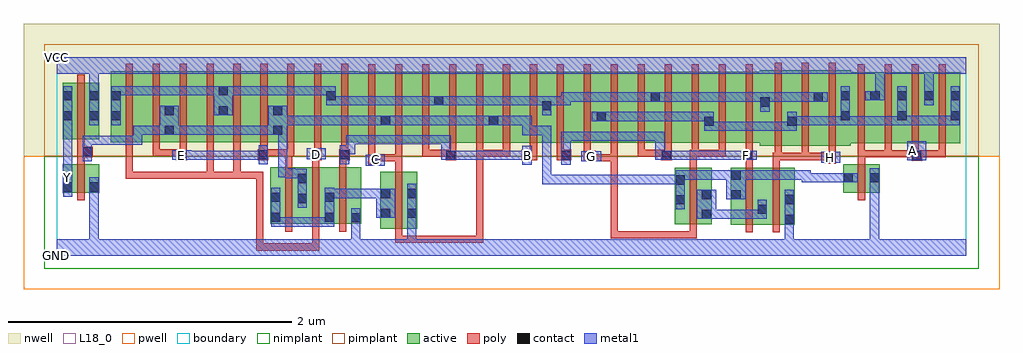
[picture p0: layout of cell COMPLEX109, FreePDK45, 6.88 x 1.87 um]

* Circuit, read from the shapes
.subckt COMPLEX109 A B C D E F G GND H VCC Y
M1 GND n1 Y VSUBS nfet w=0.2u l=0.05u
M2 n1 E n2 VSUBS nfet w=0.4u l=0.05u
M3 n2 D n1 VSUBS nfet w=0.4u l=0.05u
M4 GND B n2 VSUBS nfet w=0.4u l=0.05u
M5 GND C n2 VSUBS nfet w=0.4u l=0.05u
M6 n3 G n1 VSUBS nfet w=0.4u l=0.05u
M7 n3 F n1 VSUBS nfet w=0.4u l=0.05u
M8 GND H n3 VSUBS nfet w=0.4u l=0.05u
M9 GND A n1 VSUBS nfet w=0.2u l=0.05u
M10 VCC n1 Y n4 pfet w=0.4u l=0.05u
M11 n5 D n6 n4 pfet w=0.5u l=0.05u
M12 n1 E n5 n4 pfet w=0.5u l=0.05u
M13 n7 E n1 n4 pfet w=0.5u l=0.05u
M14 n6 D n7 n4 pfet w=0.5u l=0.05u
M15 n8 D n6 n4 pfet w=0.5u l=0.05u
M16 n1 E n8 n4 pfet w=0.5u l=0.05u
M17 n9 E n1 n4 pfet w=0.5u l=0.05u
M18 n6 D n9 n4 pfet w=0.5u l=0.05u
M19 n10 B n6 n4 pfet w=0.5u l=0.05u
M20 n1 C n10 n4 pfet w=0.5u l=0.05u
M21 n11 C n1 n4 pfet w=0.5u l=0.05u
M22 n6 B n11 n4 pfet w=0.5u l=0.05u
M23 n12 B n6 n4 pfet w=0.5u l=0.05u
M24 n1 C n12 n4 pfet w=0.5u l=0.05u
M25 n13 C n1 n4 pfet w=0.5u l=0.05u
M26 n6 B n13 n4 pfet w=0.5u l=0.05u
M27 n14 F n6 n4 pfet w=0.5u l=0.05u
M28 n15 G n14 n4 pfet w=0.5u l=0.05u
M29 n16 G n15 n4 pfet w=0.5u l=0.05u
M30 n6 F n16 n4 pfet w=0.5u l=0.05u
M31 n17 F n6 n4 pfet w=0.5u l=0.05u
M32 n15 G n17 n4 pfet w=0.5u l=0.05u
M33 n18 G n15 n4 pfet w=0.5u l=0.05u
M34 n6 F n18 n4 pfet w=0.5u l=0.05u
M35 n15 H n6 n4 pfet w=0.532u l=0.05u m=3
M36 VCC A n15 n4 pfet w=0.5u l=0.05u m=4
.ends

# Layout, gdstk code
import gdstk
lib = gdstk.Library(unit=1e-6, precision=1e-09)
def R(c, l, rs):  # rectangles x0, y0, x1, y1
    for r in rs: c.add(gdstk.rectangle(r[:2], r[2:], *l))
def A(c, l, x, y, w, h, nx, ny, dx, dy):  # array of equal rectangles
    R(c, l, [(x+i*dx, y+j*dy, x+i*dx+w, y+j*dy+h) for i in range(nx) for j in range(ny)])
active = (1, 0)
pwell = (2, 0)
nwell = (3, 0)
nimplant = (4, 0)
pimplant = (5, 0)
poly = (9, 0)
contact = (10, 0)
metal1 = (11, 0)
L18_0 = (18, 0)
boundary = (235, 0)

complex109 = lib.new_cell('COMPLEX109')
A(complex109, active, 2.28, 0.797, 0.075, 0.273, 4, 1, 0.76, 0)
A(complex109, active, 3.645, 0.797, 0.23, 0.5, 3, 1, 0.38, 0)
A(complex109, active, 3.8, 0.797, 0.225, 0.5, 3, 1, 0.38, 0)
R(complex109, active, [(2.28,0.192,2.54,0.592), (2.28,0.2,2.355,0.592), (4.75,0.22,5.01,0.62), (4.935,0.22,5.2,0.62), (5.125,0.22,5.2,0.62), (4.357,0.222,4.617,0.622), (1.505,0.225,1.58,0.625), (1.505,0.225,1.767,0.625), (1.692,0.225,1.96,0.625), (1.885,0.225,2.145,0.625), (2.07,0.225,2.145,0.492), (1.885,0.232,1.96,0.492), (4.935,0.232,5.01,0.492), (1.692,0.245,1.767,0.625), (2.465,0.245,2.54,0.592), (4.357,0.245,4.432,0.622), (4.542,0.245,4.617,0.622), (4.75,0.245,4.825,0.62), (0.04,0.445,0.115,0.645), (0.04,0.445,0.3,0.645), (0.225,0.445,0.3,0.645), (5.542,0.445,5.617,0.645), (5.542,0.445,5.802,0.645), (5.727,0.445,5.802,0.645), (4.955,0.775,5.22,1.307), (5.145,0.775,5.405,1.307), (5.145,0.775,5.22,1.07), (5.33,0.775,5.595,1.307), (5.33,0.775,5.405,1.2), (5.52,0.795,5.595,1.2), (5.52,0.795,5.805,1.295), (5.73,0.795,5.805,1.295), (5.73,0.795,5.995,1.295), (5.92,0.795,5.995,1.2), (5.92,0.795,6.185,1.295), (6.11,0.795,6.37,1.295), (6.11,0.795,6.185,1.295), (6.295,0.795,6.37,1.2), (2.125,0.797,2.355,1.297), (2.28,0.797,2.505,1.297), (2.505,0.797,2.73,1.297), (2.655,0.797,2.885,1.297), (2.655,0.797,2.73,1.2), (2.885,0.797,3.115,1.297), (3.04,0.797,3.265,1.297), (3.265,0.797,3.49,1.297), (3.415,0.797,3.645,1.297), (3.415,0.797,3.49,1.2), (4.18,0.797,4.255,1.2), (4.785,0.797,5.03,1.297), (0.38,0.8,0.605,1.3), (0.38,0.8,0.485,1.2), (0.605,0.8,0.83,1.3), (0.755,0.8,0.985,1.3), (0.755,0.8,0.83,1.07), (0.985,0.8,1.21,1.3), (1.135,0.8,1.21,1.2), (1.135,0.8,1.365,1.3), (1.365,0.8,1.595,1.3), (1.52,0.8,1.745,1.3), (1.52,0.8,1.595,1.07), (1.745,0.8,1.97,1.3), (1.895,0.8,2.125,1.3), (1.895,0.807,1.97,1.2), (4.955,0.807,5.03,1.2), (0.04,0.82,0.3,1.22), (0.04,0.82,0.115,1.165), (0.225,0.82,0.3,1.22)])
R(complex109, pwell, [(-0.235,-0.235,6.645,0.7)])
R(complex109, nwell, [(-0.235,0.7,6.645,1.635)])
R(complex109, nimplant, [(-0.09,-0.09,6.5,0.7)])
R(complex109, pimplant, [(-0.09,0.7,6.5,1.49)])
A(complex109, poly, 1.61, 0.17, 0.05, 0.51, 3, 1, 0.19, 0)
A(complex109, poly, 5.06, 0.675, 0.05, 0.095, 3, 1, 0.19, 0)
A(complex109, poly, 5.645, 0.695, 0.05, 0.095, 4, 1, 0.19, 0)
A(complex109, poly, 2.575, 0.697, 0.05, 0.095, 6, 1, 0.19, 0)
A(complex109, poly, 4.095, 0.697, 0.05, 0.095, 5, 1, 0.19, 0)
A(complex109, poly, 1.435, 0.7, 0.05, 0.095, 4, 1, 0.19, 0)
A(complex109, poly, 5.06, 0.72, 0.05, 0.642, 3, 1, 0.19, 0)
A(complex109, poly, 5.645, 0.74, 0.05, 0.61, 4, 1, 0.19, 0)
A(complex109, poly, 2.195, 0.742, 0.05, 0.61, 15, 1, 0.19, 0)
A(complex109, poly, 0.485, 0.745, 0.05, 0.61, 9, 1, 0.19, 0)
R(complex109, poly, [(1.405,0.037,1.455,0.087), (1.405,0.037,1.455,0.087), (1.405,0.037,1.455,0.087), (1.405,0.037,1.455,0.087), (1.405,0.037,1.455,0.087), (1.405,0.037,1.455,0.087), (1.405,0.037,1.455,0.087), (1.405,0.037,1.71,0.087), (1.405,0.037,1.455,0.592), (1.66,0.037,1.71,0.087), (1.66,0.037,1.71,0.087), (1.66,0.037,1.71,0.087), (1.66,0.037,1.85,0.087), (1.8,0.037,1.85,0.087), (1.8,0.037,1.85,0.087), (1.8,0.037,1.85,0.087), (1.8,0.037,1.85,0.22), (2.385,0.092,2.435,0.187), (2.385,0.092,2.435,0.142), (2.385,0.092,2.435,0.142), (2.385,0.092,2.435,0.142), (2.385,0.092,2.567,0.142), (2.517,0.092,2.567,0.142), (2.517,0.092,2.567,0.142), (2.517,0.092,2.567,0.142), (2.517,0.092,2.872,0.142), (2.822,0.092,2.872,0.142), (2.822,0.092,3.005,0.142), (2.955,0.092,3.005,0.142), (2.955,0.092,3.005,0.142), (2.955,0.092,3.005,0.142), (2.955,0.092,3.005,0.142), (2.955,0.092,3.005,0.142), (2.955,0.092,3.005,0.142), (2.955,0.092,3.005,0.142), (2.955,0.092,3.005,0.142), (2.955,0.092,3.005,0.142), (2.955,0.092,3.005,0.747), (3.905,0.122,3.955,0.172), (3.905,0.122,3.955,0.172), (3.905,0.122,3.955,0.172), (3.905,0.122,4.177,0.172), (3.905,0.122,3.955,0.717), (4.127,0.122,4.177,0.172), (4.127,0.122,4.177,0.172), (4.127,0.122,4.177,0.172), (4.127,0.122,4.38,0.172), (4.33,0.122,4.38,0.172), (4.33,0.122,4.512,0.172), (4.462,0.122,4.512,0.217), (4.462,0.122,4.512,0.172), (4.462,0.122,4.512,0.172), (4.462,0.122,4.512,0.172), (2.385,0.137,2.435,0.647), (4.855,0.165,4.905,0.675), (5.045,0.165,5.095,0.675), (4.462,0.167,4.512,0.677), (0.145,0.39,0.195,0.7), (5.647,0.39,5.697,0.7), (0.485,0.542,0.535,0.592), (0.485,0.542,0.535,0.592), (0.485,0.542,0.535,0.592), (0.485,0.542,0.535,0.592), (0.485,0.542,0.535,0.592), (0.485,0.542,0.535,0.592), (0.485,0.542,0.535,0.592), (0.485,0.542,0.535,0.795), (0.485,0.542,0.76,0.592), (0.71,0.542,0.76,0.592), (0.71,0.542,0.76,0.592), (0.71,0.542,0.76,0.592), (0.71,0.542,0.972,0.592), (0.922,0.542,0.972,0.592), (0.922,0.542,1.105,0.592), (1.055,0.542,1.105,0.592), (1.055,0.542,1.105,0.592), (1.055,0.542,1.105,0.592), (1.055,0.542,1.105,0.592), (1.055,0.542,1.105,0.592), (1.055,0.542,1.105,0.592), (1.055,0.542,1.105,0.592), (1.055,0.542,1.295,0.592), (1.055,0.542,1.105,0.795), (1.245,0.542,1.295,0.592), (1.245,0.542,1.295,0.592), (1.245,0.542,1.295,0.592), (1.245,0.542,1.295,0.592), (1.245,0.542,1.295,0.592), (1.245,0.542,1.295,0.592), (1.245,0.542,1.295,0.592), (1.245,0.542,1.455,0.592), (1.245,0.542,1.295,0.795), (1.405,0.542,1.455,0.592), (2.385,0.597,2.435,0.717), (4.855,0.625,4.905,0.722), (5.045,0.625,5.095,0.725), (4.462,0.627,4.512,0.747), (1.61,0.63,1.66,0.75), (1.8,0.63,1.85,0.725), (1.99,0.63,2.04,0.725), (2.195,0.642,2.282,0.717), (0.145,0.65,0.195,0.745), (5.417,0.65,5.492,0.725), (5.647,0.65,5.697,0.745), (2.195,0.667,2.245,0.792), (2.232,0.667,2.282,0.717), (2.232,0.667,2.282,0.717), (2.232,0.667,2.435,0.717), (2.385,0.667,2.435,0.717), (2.385,0.667,2.435,0.792), (3.715,0.667,3.8,0.742), (3.75,0.667,3.8,0.717), (3.75,0.667,3.8,0.717), (3.75,0.667,3.955,0.717), (3.905,0.667,3.955,0.717), (3.905,0.667,3.955,0.717), (3.905,0.667,3.955,0.717), (3.905,0.667,3.955,0.717), (3.905,0.667,3.955,0.717), (3.905,0.667,3.955,0.717), (3.905,0.667,3.955,0.717), (3.905,0.667,3.955,0.717), (3.905,0.667,3.955,0.717), (3.905,0.667,3.955,0.792), (6.025,0.67,6.1,0.745), (2.74,0.672,2.815,0.747), (3.277,0.672,3.385,0.747), (3.525,0.672,3.627,0.747), (4.26,0.672,4.335,0.747), (4.83,0.672,4.905,0.747), (0.842,0.675,0.917,0.75), (1.417,0.675,1.492,0.75), (1.792,0.675,1.867,0.75), (1.99,0.675,2.065,0.75), (5.045,0.675,5.11,0.725), (5.06,0.675,5.11,0.725), (5.06,0.675,5.11,0.725), (5.06,0.675,5.3,0.725), (5.25,0.675,5.3,0.725), (5.25,0.675,5.467,0.725), (5.417,0.675,5.467,0.725), (5.417,0.675,5.467,0.725), (3.715,0.692,3.765,0.792), (0.145,0.695,0.252,0.77), (5.645,0.695,5.697,0.745), (5.647,0.695,5.697,0.745), (5.647,0.695,5.697,0.745), (5.647,0.695,5.885,0.745), (5.835,0.695,5.885,0.745), (5.835,0.695,5.885,0.745), (5.835,0.695,5.885,0.745), (5.835,0.695,6.075,0.745), (6.05,0.695,6.265,0.745), (6.215,0.695,6.265,0.745), (6.215,0.695,6.265,0.745), (6.215,0.695,6.265,0.745), (2.575,0.697,2.625,0.747), (2.575,0.697,2.79,0.747), (2.74,0.697,2.79,0.747), (2.74,0.697,2.79,0.747), (2.955,0.697,3.005,0.747), (2.955,0.697,3.005,0.747), (2.955,0.697,3.005,0.747), (2.955,0.697,3.195,0.747), (3.145,0.697,3.195,0.747), (3.145,0.697,3.195,0.747), (3.145,0.697,3.195,0.747), (4.095,0.697,4.145,0.747), (4.095,0.697,4.145,0.747), (4.095,0.697,4.145,0.747), (4.095,0.697,4.31,0.747), (4.462,0.697,4.525,0.747), (4.475,0.697,4.715,0.747), (4.665,0.697,4.715,0.747), (4.665,0.697,4.715,0.747), (4.665,0.697,4.715,0.747), (0.675,0.7,0.725,0.795), (0.675,0.7,0.725,0.75), (0.675,0.7,0.725,0.75), (0.675,0.7,0.725,0.75), (0.675,0.7,0.892,0.75), (0.865,0.7,0.915,0.795), (1.442,0.7,1.66,0.75), (1.61,0.7,1.66,0.75), (1.61,0.7,1.66,0.75), (1.61,0.7,1.675,0.75), (0.145,0.72,0.195,0.815), (0.145,0.765,0.195,1.275)])
A(complex109, contact, 5.735, 1.095, 0.065, 0.065, 3, 1, 0.19, 0)
R(complex109, contact, [(5.13,0.225,5.195,0.29), (2.075,0.235,2.14,0.3), (1.51,0.24,1.575,0.305), (1.89,0.24,1.955,0.305), (4.547,0.26,4.612,0.325), (2.285,0.267,2.35,0.332), (2.47,0.267,2.535,0.332), (4.94,0.295,5.005,0.36), (4.362,0.362,4.427,0.427), (5.13,0.365,5.195,0.43), (1.697,0.372,1.762,0.437), (1.51,0.38,1.575,0.445), (1.89,0.38,1.955,0.445), (4.755,0.397,4.82,0.462), (4.547,0.4,4.612,0.465), (2.285,0.407,2.35,0.472), (2.47,0.407,2.535,0.472), (0.045,0.452,0.11,0.517), (0.23,0.452,0.295,0.517), (4.362,0.502,4.427,0.567), (1.697,0.512,1.762,0.577), (5.547,0.517,5.612,0.582), (5.732,0.517,5.797,0.582), (4.755,0.537,4.82,0.602), (2.212,0.647,2.277,0.712), (5.422,0.655,5.487,0.72), (3.73,0.672,3.795,0.737), (6.03,0.675,6.095,0.74), (2.745,0.677,2.81,0.742), (3.282,0.677,3.347,0.742), (3.557,0.677,3.622,0.742), (4.265,0.677,4.33,0.742), (4.835,0.677,4.9,0.742), (0.847,0.68,0.912,0.745), (1.422,0.68,1.487,0.745), (1.797,0.68,1.862,0.745), (1.995,0.68,2.06,0.745), (0.182,0.7,0.247,0.765), (0.76,0.852,0.825,0.917), (1.525,0.852,1.59,0.917), (4.565,0.915,4.63,0.98), (5.15,0.915,5.215,0.98), (2.285,0.922,2.35,0.987), (3.045,0.922,3.11,0.987), (3.805,0.95,3.87,1.015), (0.045,0.955,0.11,1.02), (0.23,0.955,0.295,1.02), (0.385,0.955,0.45,1.02), (5.525,0.955,5.59,1.02), (5.925,0.955,5.99,1.02), (6.3,0.955,6.365,1.02), (1.14,0.99,1.205,1.055), (0.76,0.992,0.825,1.057), (1.525,0.992,1.59,1.057), (3.42,1.025,3.485,1.09), (4.96,1.052,5.025,1.117), (2.66,1.06,2.725,1.125), (4.185,1.087,4.25,1.152), (5.335,1.087,5.4,1.152), (0.045,1.095,0.11,1.16), (0.23,1.095,0.295,1.16), (0.385,1.095,0.45,1.16), (1.9,1.095,1.965,1.16), (5.525,1.095,5.59,1.16), (6.3,1.095,6.365,1.16), (1.14,1.13,1.205,1.195)])
R(complex109, metal1, [(0,0,6.41,0.115), (0.23,0.05,0.295,0.482), (2.075,0.05,2.14,0.265), (2.47,0.05,2.535,0.115), (2.47,0.05,2.535,0.115), (2.47,0.05,2.535,0.297), (5.13,0.05,5.195,0.115), (5.13,0.05,5.195,0.115), (5.13,0.05,5.195,0.255), (5.732,0.05,5.797,0.115), (5.732,0.05,5.797,0.115), (5.732,0.05,5.797,0.115), (5.732,0.05,5.797,0.115), (5.732,0.05,5.797,0.115), (5.732,0.05,5.797,0.115), (5.732,0.05,5.797,0.547), (5.13,0.19,5.195,0.465), (2.075,0.2,2.14,0.265), (2.075,0.2,2.14,0.265), (2.075,0.2,2.14,0.335), (1.51,0.205,1.575,0.48), (1.51,0.205,1.625,0.27), (1.56,0.205,1.625,0.27), (1.56,0.205,1.762,0.27), (1.697,0.205,1.762,0.27), (1.697,0.205,1.922,0.27), (1.857,0.205,1.922,0.27), (1.857,0.205,1.955,0.27), (1.89,0.205,1.955,0.48), (2.47,0.232,2.535,0.507), (4.512,0.26,4.647,0.465), (4.582,0.26,4.702,0.325), (4.637,0.26,4.702,0.325), (4.637,0.26,4.84,0.325), (4.775,0.26,4.84,0.325), (4.775,0.26,4.84,0.325), (4.775,0.26,4.84,0.325), (4.775,0.26,5.005,0.325), (4.94,0.26,5.005,0.395), (2.25,0.267,2.385,0.472), (4.362,0.327,4.427,0.602), (1.697,0.337,1.762,0.612), (4.72,0.397,4.855,0.602), (1.89,0.407,2.102,0.472), (2.037,0.407,2.102,0.472), (2.037,0.407,2.102,0.472), (2.037,0.407,2.102,0.472), (2.037,0.407,2.315,0.472), (2.25,0.407,2.315,0.472), (2.25,0.407,2.315,0.472), (0.045,0.417,0.11,0.552), (0.23,0.417,0.295,0.482), (0.23,0.417,0.295,0.482), (0.23,0.417,0.295,0.482), (0.23,0.417,0.295,0.482), (0.23,0.417,0.295,0.482), (0.23,0.417,0.295,0.482), (0.23,0.417,0.295,0.552), (5.732,0.482,5.797,0.617), (0.042,0.487,0.11,0.622), (0.045,0.487,0.11,0.552), (3.42,0.505,3.485,0.57), (3.42,0.505,3.485,0.57), (3.42,0.505,3.485,0.57), (3.42,0.505,3.485,0.57), (3.42,0.505,3.485,0.57), (3.42,0.505,3.622,0.57), (3.42,0.505,3.485,0.915), (3.557,0.505,3.622,0.57), (3.557,0.505,3.76,0.57), (3.695,0.505,3.76,0.57), (3.695,0.505,3.76,0.57), (3.695,0.505,3.76,0.57), (3.695,0.505,3.897,0.57), (3.832,0.505,3.897,0.57), (3.832,0.505,4.077,0.57), (4.012,0.505,4.077,0.57), (4.012,0.505,4.077,0.57), (4.012,0.505,4.077,0.57), (4.012,0.505,4.285,0.57), (4.22,0.505,4.285,0.57), (4.22,0.505,4.427,0.57), (4.362,0.505,4.427,0.57), (4.362,0.505,4.427,0.57), (5.25,0.517,5.44,0.582), (5.25,0.517,5.315,0.602), (5.375,0.517,5.44,0.582), (5.375,0.517,5.577,0.582), (5.512,0.517,5.577,0.582), (5.512,0.517,5.577,0.582), (5.512,0.517,5.647,0.582), (4.362,0.537,4.565,0.602), (4.5,0.537,4.565,0.602), (4.5,0.537,4.565,0.602), (4.5,0.537,4.565,0.602), (4.5,0.537,4.702,0.602), (4.637,0.537,4.702,0.602), (4.637,0.537,4.785,0.602), (4.79,0.537,4.855,0.602), (4.79,0.537,4.855,0.602), (4.79,0.537,5.025,0.602), (4.96,0.537,5.025,0.602), (4.96,0.537,5.025,0.602), (4.96,0.537,5.025,0.602), (4.96,0.537,5.227,0.602), (5.162,0.537,5.227,0.602), (5.162,0.537,5.315,0.602), (1.615,0.547,1.762,0.612), (1.615,0.547,1.68,0.617), (1.56,0.552,1.625,0.617), (1.56,0.552,1.68,0.617), (1.56,0.552,1.625,0.917), (0.045,0.557,0.11,0.985), (2.177,0.635,2.312,0.712), (3.282,0.642,3.347,0.777), (3.557,0.642,3.622,0.777), (1.422,0.645,1.487,0.78), (1.995,0.645,2.06,0.78), (5.387,0.655,5.522,0.732), (0.182,0.665,0.247,0.8), (3.695,0.665,3.837,0.737), (5.995,0.672,6.13,0.807), (0.812,0.677,0.947,0.745), (0.882,0.677,0.997,0.742), (0.932,0.677,0.997,0.742), (0.932,0.677,1.085,0.742), (1.02,0.677,1.085,0.742), (1.02,0.677,1.222,0.742), (1.157,0.677,1.222,0.742), (1.157,0.677,1.222,0.742), (1.157,0.677,1.222,0.742), (1.157,0.677,1.417,0.742), (1.352,0.677,1.417,0.742), (1.352,0.677,1.487,0.742), (2.71,0.677,2.775,0.742), (2.71,0.677,2.775,0.742), (2.71,0.677,2.845,0.742), (2.71,0.677,2.775,0.85), (2.78,0.677,2.937,0.742), (2.872,0.677,2.937,0.742), (2.872,0.677,3.007,0.742), (2.942,0.677,3.007,0.742), (2.942,0.677,3.21,0.742), (3.145,0.677,3.21,0.742), (3.145,0.677,3.21,0.742), (3.145,0.677,3.21,0.742), (3.145,0.677,3.347,0.742), (3.282,0.677,3.347,0.742), (3.282,0.677,3.347,0.742), (4.22,0.677,4.285,0.742), (4.22,0.677,4.295,0.742), (4.22,0.677,4.285,0.875), (4.23,0.677,4.365,0.742), (4.3,0.677,4.427,0.742), (4.362,0.677,4.427,0.742), (4.362,0.677,4.565,0.742), (4.5,0.677,4.565,0.742), (4.5,0.677,4.565,0.742), (4.5,0.677,4.565,0.742), (4.5,0.677,4.702,0.742), (4.637,0.677,4.702,0.742), (4.637,0.677,4.862,0.742), (4.797,0.677,4.862,0.742), (4.797,0.677,4.862,0.742), (4.797,0.677,4.935,0.742), (1.762,0.68,1.897,0.757), (3.557,0.712,3.622,0.777), (3.557,0.712,3.622,0.777), (3.557,0.712,3.622,0.875), (1.995,0.715,2.105,0.78), (2.04,0.715,2.105,0.78), (2.04,0.715,2.105,0.85), (0.182,0.735,0.247,0.8), (0.182,0.735,0.247,0.8), (0.182,0.735,0.247,0.847), (0.182,0.782,0.247,0.847), (0.182,0.782,0.432,0.847), (0.367,0.782,0.432,0.847), (0.367,0.782,0.432,0.847), (0.367,0.782,0.432,0.847), (0.367,0.782,0.602,0.847), (0.537,0.782,0.602,0.847), (0.537,0.782,0.602,0.847), (0.537,0.782,0.602,0.917), (2.04,0.785,2.105,0.85), (2.04,0.785,2.315,0.85), (2.25,0.785,2.315,0.85), (2.25,0.785,2.315,0.85), (2.25,0.785,2.315,0.85), (2.25,0.785,2.485,0.85), (2.42,0.785,2.485,0.85), (2.42,0.785,2.522,0.85), (2.457,0.785,2.522,0.85), (2.457,0.785,2.622,0.85), (2.557,0.785,2.622,0.85), (2.557,0.785,2.775,0.85), (2.71,0.785,2.775,0.85), (3.557,0.81,3.622,0.875), (3.557,0.81,3.76,0.875), (3.695,0.81,3.76,0.875), (3.695,0.81,3.76,0.875), (3.695,0.81,3.76,0.875), (3.695,0.81,3.905,0.875), (3.84,0.81,3.905,0.875), (3.84,0.81,4.042,0.875), (3.977,0.81,4.042,0.875), (3.977,0.81,4.042,0.875), (3.977,0.81,4.042,0.875), (3.977,0.81,4.285,0.875), (4.22,0.81,4.285,0.875), (3.282,0.85,3.347,0.915), (3.282,0.85,3.347,0.915), (3.282,0.85,3.347,0.915), (3.282,0.85,3.485,0.915), (3.282,0.85,3.347,0.987), (3.42,0.85,3.485,0.915), (0.537,0.852,0.79,0.917), (0.725,0.852,0.86,1.057), (0.795,0.852,0.947,0.917), (0.882,0.852,0.947,0.917), (0.882,0.852,0.997,0.917), (0.932,0.852,0.997,0.917), (0.932,0.852,1.085,0.917), (1.02,0.852,1.085,0.917), (1.02,0.852,1.222,0.917), (1.157,0.852,1.222,0.917), (1.157,0.852,1.222,0.917), (1.157,0.852,1.222,0.917), (1.157,0.852,1.417,0.917), (1.352,0.852,1.417,0.917), (1.352,0.852,1.417,0.917), (1.352,0.852,1.417,0.917), (1.352,0.852,1.555,0.917), (1.49,0.852,1.625,1.057), (1.56,0.852,1.625,0.917), (1.56,0.852,1.625,0.917), (4.565,0.88,4.63,1.015), (4.565,0.88,4.702,0.945), (4.637,0.88,4.702,0.945), (4.637,0.88,4.84,0.945), (4.775,0.88,4.84,0.945), (4.775,0.88,4.84,0.945), (4.775,0.88,4.84,0.945), (4.775,0.88,5,0.945), (4.935,0.88,5,0.945), (4.935,0.88,5,0.945), (4.935,0.88,5,0.945), (4.935,0.88,5.215,0.945), (5.15,0.88,5.215,1.015), (0.045,0.92,0.11,1.195), (0.23,0.92,0.295,1.195), (0.385,0.92,0.45,1.195), (5.15,0.92,5.215,0.985), (5.15,0.92,5.215,0.985), (5.15,0.92,5.44,0.985), (5.375,0.92,5.44,0.985), (5.375,0.92,5.59,0.985), (5.525,0.92,5.59,0.985), (5.525,0.92,5.59,0.985), (5.525,0.92,5.59,1.195), (5.525,0.92,5.785,0.985), (5.72,0.92,5.785,0.985), (5.72,0.92,5.785,0.985), (5.72,0.92,5.785,0.985), (5.72,0.92,5.922,0.985), (5.857,0.92,5.922,0.985), (5.857,0.92,5.99,0.985), (5.925,0.92,5.99,1.195), (6.3,0.92,6.365,1.195), (1.56,0.922,1.625,0.987), (1.56,0.922,1.625,0.987), (1.56,0.922,1.817,0.987), (1.752,0.922,1.817,0.987), (1.752,0.922,1.817,0.987), (1.752,0.922,1.817,0.987), (1.752,0.922,1.817,0.987), (1.752,0.922,1.817,0.987), (1.752,0.922,1.955,0.987), (1.89,0.922,1.955,0.987), (1.89,0.922,2.105,0.987), (2.04,0.922,2.105,0.987), (2.04,0.922,2.177,0.987), (2.112,0.922,2.177,0.987), (2.112,0.922,2.315,0.987), (2.25,0.922,2.315,0.987), (2.25,0.922,2.315,0.987), (2.25,0.922,2.385,0.987), (2.32,0.922,2.452,0.987), (2.387,0.922,2.452,0.987), (2.387,0.922,2.552,0.987), (2.487,0.922,2.552,0.987), (2.487,0.922,2.622,0.987), (2.557,0.922,2.622,0.987), (2.557,0.922,2.782,0.987), (2.717,0.922,2.782,0.987), (2.717,0.922,2.782,0.987), (2.717,0.922,2.782,0.987), (2.717,0.922,2.937,0.987), (2.872,0.922,2.937,0.987), (2.872,0.922,3.007,0.987), (2.942,0.922,3.007,0.987), (2.942,0.922,3.075,0.987), (3.01,0.922,3.145,0.987), (3.08,0.922,3.145,0.987), (3.08,0.922,3.145,0.987), (3.08,0.922,3.347,0.987), (3.282,0.922,3.347,0.987), (5.925,0.922,6.06,0.987), (5.995,0.922,6.06,0.987), (5.995,0.922,6.227,0.987), (6.162,0.922,6.227,0.987), (6.162,0.922,6.365,0.987), (6.3,0.922,6.365,0.987), (6.3,0.922,6.365,0.987), (3.77,0.95,3.905,1.015), (3.84,0.95,3.905,1.015), (3.84,0.95,3.905,1.015), (3.84,0.95,4.042,1.015), (3.977,0.95,4.042,1.015), (3.977,0.95,4.042,1.015), (3.977,0.95,4.042,1.015), (3.977,0.95,4.215,1.015), (4.15,0.95,4.215,1.015), (4.15,0.95,4.422,1.015), (4.357,0.95,4.422,1.015), (4.357,0.95,4.422,1.015), (4.357,0.95,4.422,1.015), (4.357,0.95,4.565,1.015), (4.5,0.95,4.565,1.015), (4.5,0.95,4.63,1.015), (1.105,0.99,1.24,1.195), (3.42,0.99,3.485,1.125), (4.96,1.017,5.025,1.152), (1.9,1.06,1.965,1.195), (1.9,1.06,2.06,1.125), (1.995,1.06,2.06,1.125), (1.995,1.06,2.177,1.125), (2.112,1.06,2.177,1.125), (2.112,1.06,2.315,1.125), (2.25,1.06,2.315,1.125), (2.25,1.06,2.315,1.125), (2.25,1.06,2.315,1.125), (2.25,1.06,2.452,1.125), (2.387,1.06,2.452,1.125), (2.387,1.06,2.552,1.125), (2.487,1.06,2.552,1.125), (2.487,1.06,2.622,1.125), (2.557,1.06,2.622,1.125), (2.557,1.06,2.69,1.125), (2.625,1.06,2.76,1.125), (2.695,1.06,2.76,1.125), (2.695,1.06,2.76,1.125), (2.695,1.06,2.92,1.125), (2.855,1.06,2.92,1.125), (2.855,1.06,3.007,1.125), (2.942,1.06,3.007,1.125), (2.942,1.06,3.075,1.125), (3.01,1.06,3.075,1.125), (3.01,1.06,3.145,1.125), (3.08,1.06,3.145,1.125), (3.08,1.06,3.347,1.125), (3.282,1.06,3.347,1.125), (3.282,1.06,3.347,1.125), (3.282,1.06,3.347,1.125), (3.282,1.06,3.485,1.125), (3.42,1.06,3.622,1.125), (3.557,1.06,3.622,1.125), (3.557,1.06,3.622,1.125), (3.557,1.06,3.622,1.152), (6.115,1.06,6.18,1.195), (3.557,1.087,3.76,1.152), (3.695,1.087,3.76,1.152), (3.695,1.087,3.897,1.152), (3.832,1.087,3.897,1.152), (3.832,1.087,3.897,1.152), (3.832,1.087,3.897,1.152), (3.832,1.087,4.077,1.152), (4.012,1.087,4.077,1.152), (4.012,1.087,4.077,1.152), (4.012,1.087,4.077,1.152), (4.012,1.087,4.215,1.152), (4.15,1.087,4.285,1.152), (4.22,1.087,4.285,1.152), (4.22,1.087,4.285,1.152), (4.22,1.087,4.427,1.152), (4.362,1.087,4.427,1.152), (4.362,1.087,4.565,1.152), (4.5,1.087,4.565,1.152), (4.5,1.087,4.565,1.152), (4.5,1.087,4.565,1.152), (4.5,1.087,4.702,1.152), (4.637,1.087,4.702,1.152), (4.637,1.087,4.862,1.152), (4.797,1.087,4.862,1.152), (4.797,1.087,4.862,1.152), (4.797,1.087,4.862,1.152), (4.797,1.087,5.025,1.152), (4.96,1.087,5.025,1.152), (4.96,1.087,5.025,1.152), (4.96,1.087,5.162,1.152), (5.097,1.087,5.162,1.152), (5.097,1.087,5.162,1.152), (5.097,1.087,5.162,1.152), (5.097,1.087,5.365,1.152), (5.3,1.087,5.435,1.152), (5.7,1.095,5.835,1.16), (5.77,1.095,5.835,1.35), (0.23,1.13,0.295,1.35), (0.385,1.13,0.45,1.195), (0.385,1.13,0.45,1.195), (0.385,1.13,0.587,1.195), (0.522,1.13,0.587,1.195), (0.522,1.13,0.74,1.195), (0.675,1.13,0.74,1.195), (0.675,1.13,0.74,1.195), (0.675,1.13,0.74,1.195), (0.675,1.13,0.947,1.195), (0.882,1.13,0.947,1.195), (0.882,1.13,0.997,1.195), (0.932,1.13,0.997,1.195), (0.932,1.13,1.085,1.195), (1.02,1.13,1.085,1.195), (1.02,1.13,1.17,1.195), (1.175,1.13,1.24,1.195), (1.175,1.13,1.24,1.195), (1.175,1.13,1.377,1.195), (1.312,1.13,1.377,1.195), (1.312,1.13,1.377,1.195), (1.312,1.13,1.377,1.195), (1.312,1.13,1.625,1.195), (1.56,1.13,1.625,1.195), (1.56,1.13,1.625,1.195), (1.56,1.13,1.625,1.195), (1.56,1.13,1.817,1.195), (1.752,1.13,1.817,1.195), (1.752,1.13,1.817,1.195), (1.752,1.13,1.817,1.195), (1.752,1.13,1.965,1.195), (6.115,1.13,6.18,1.35), (0,1.285,6.41,1.4)])
R(complex109, L18_0, [(0,0,6.41,0.115), (0.23,0.05,0.295,0.482), (2.075,0.05,2.14,0.265), (2.47,0.05,2.535,0.115), (2.47,0.05,2.535,0.115), (2.47,0.05,2.535,0.297), (5.13,0.05,5.195,0.115), (5.13,0.05,5.195,0.115), (5.13,0.05,5.195,0.255), (5.732,0.05,5.797,0.115), (5.732,0.05,5.797,0.115), (5.732,0.05,5.797,0.115), (5.732,0.05,5.797,0.115), (5.732,0.05,5.797,0.115), (5.732,0.05,5.797,0.115), (5.732,0.05,5.797,0.547), (5.13,0.19,5.195,0.465), (2.075,0.2,2.14,0.335), (2.075,0.2,2.14,0.265), (2.075,0.2,2.14,0.265), (2.47,0.232,2.535,0.507), (0.045,0.417,0.11,0.552), (0.23,0.417,0.295,0.552), (0.23,0.417,0.295,0.482), (0.23,0.417,0.295,0.482), (0.23,0.417,0.295,0.482), (0.23,0.417,0.295,0.482), (0.23,0.417,0.295,0.482), (0.23,0.417,0.295,0.482), (5.732,0.482,5.797,0.617), (0.042,0.487,0.11,0.622), (0.045,0.487,0.11,0.552), (0.042,0.522,0.107,0.587), (0.045,0.557,0.11,0.985), (2.177,0.635,2.312,0.712), (3.282,0.642,3.347,0.777), (3.557,0.642,3.622,0.777), (1.422,0.645,1.487,0.78), (1.995,0.645,2.06,0.78), (2.212,0.647,2.277,0.712), (5.387,0.655,5.522,0.732), (5.422,0.657,5.487,0.722), (3.695,0.665,3.837,0.737), (3.737,0.667,3.802,0.732), (5.995,0.672,6.13,0.807), (0.812,0.677,0.947,0.745), (0.847,0.677,0.912,0.742), (0.882,0.677,0.997,0.742), (0.932,0.677,0.997,0.742), (0.932,0.677,1.085,0.742), (1.02,0.677,1.085,0.742), (1.02,0.677,1.222,0.742), (1.157,0.677,1.222,0.742), (1.157,0.677,1.222,0.742), (1.157,0.677,1.222,0.742), (1.157,0.677,1.417,0.742), (1.352,0.677,1.417,0.742), (1.352,0.677,1.487,0.742), (2.71,0.677,2.775,0.742), (2.71,0.677,2.775,0.742), (2.71,0.677,2.845,0.742), (2.71,0.677,2.775,0.85), (2.78,0.677,2.937,0.742), (2.872,0.677,2.937,0.742), (2.872,0.677,3.007,0.742), (2.942,0.677,3.007,0.742), (2.942,0.677,3.21,0.742), (3.145,0.677,3.21,0.742), (3.145,0.677,3.21,0.742), (3.145,0.677,3.21,0.742), (3.145,0.677,3.347,0.742), (3.282,0.677,3.347,0.742), (3.282,0.677,3.347,0.742), (3.282,0.677,3.347,0.742), (4.22,0.677,4.285,0.742), (4.22,0.677,4.285,0.875), (4.22,0.677,4.295,0.742), (4.23,0.677,4.365,0.742), (4.3,0.677,4.427,0.742), (4.362,0.677,4.427,0.742), (4.362,0.677,4.565,0.742), (4.5,0.677,4.565,0.742), (4.5,0.677,4.565,0.742), (4.5,0.677,4.565,0.742), (4.5,0.677,4.702,0.742), (4.637,0.677,4.702,0.742), (4.637,0.677,4.862,0.742), (4.797,0.677,4.862,0.742), (4.797,0.677,4.862,0.742), (4.797,0.677,4.935,0.742), (4.832,0.677,4.897,0.742), (1.762,0.68,1.897,0.757), (1.797,0.682,1.862,0.747), (5.997,0.707,6.062,0.772), (3.557,0.712,3.622,0.777), (3.557,0.712,3.622,0.777), (3.557,0.712,3.622,0.875), (1.995,0.715,2.105,0.78), (2.04,0.715,2.105,0.85), (2.04,0.715,2.105,0.78), (2.04,0.785,2.105,0.85), (2.04,0.785,2.315,0.85), (2.25,0.785,2.315,0.85), (2.25,0.785,2.315,0.85), (2.25,0.785,2.315,0.85), (2.25,0.785,2.485,0.85), (2.42,0.785,2.485,0.85), (2.42,0.785,2.522,0.85), (2.457,0.785,2.522,0.85), (2.457,0.785,2.622,0.85), (2.557,0.785,2.622,0.85), (2.557,0.785,2.775,0.85), (2.71,0.785,2.775,0.85), (3.557,0.81,3.622,0.875), (3.557,0.81,3.76,0.875), (3.695,0.81,3.76,0.875), (3.695,0.81,3.76,0.875), (3.695,0.81,3.76,0.875), (3.695,0.81,3.905,0.875), (3.84,0.81,3.905,0.875), (3.84,0.81,4.042,0.875), (3.977,0.81,4.042,0.875), (3.977,0.81,4.042,0.875), (3.977,0.81,4.042,0.875), (3.977,0.81,4.285,0.875), (4.22,0.81,4.285,0.875), (0.045,0.92,0.11,1.195), (0.23,0.92,0.295,1.195), (6.115,1.06,6.18,1.195), (5.7,1.095,5.835,1.16), (5.77,1.095,5.835,1.35), (0.23,1.13,0.295,1.35), (6.115,1.13,6.18,1.35), (0,1.285,6.41,1.4)])
R(complex109, boundary, [(0,0,6.41,1.4)])
complex109.add(gdstk.Label('A', (6.03,0.74), layer=11, texttype=0))
complex109.add(gdstk.Label('B', (3.315,0.71), layer=11, texttype=0))
complex109.add(gdstk.Label('C', (2.245,0.68), layer=11, texttype=0))
complex109.add(gdstk.Label('D', (1.83,0.715), layer=11, texttype=0))
complex109.add(gdstk.Label('E', (0.88,0.71), layer=11, texttype=0))
complex109.add(gdstk.Label('F', (4.865,0.71), layer=11, texttype=0))
complex109.add(gdstk.Label('G', (3.77,0.7), layer=11, texttype=0))
complex109.add(gdstk.Label('H', (5.455,0.69), layer=11, texttype=0))
complex109.add(gdstk.Label('Y', (0.075,0.555), layer=11, texttype=0))
complex109.add(gdstk.Label('VCC', (0,1.4), layer=11, texttype=0))
complex109.add(gdstk.Label('GND', (0,0), layer=11, texttype=0))

lib.write_gds('COMPLEX109.gds')
